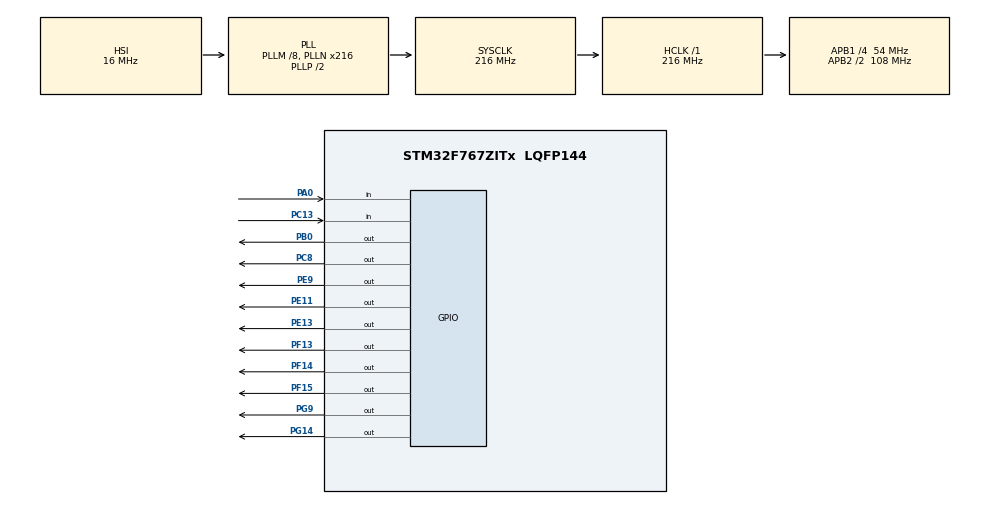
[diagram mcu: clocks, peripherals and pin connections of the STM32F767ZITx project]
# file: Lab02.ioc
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CORTEX_M7.default_mode_Activation=1
Mcu.Family=STM32F7
Mcu.Name=STM32F767ZITx
Mcu.Package=LQFP144
NVIC.PriorityGroup=NVIC_PRIORITYGROUP_4
PA0/WKUP.GPIO_PuPd=GPIO_PULLUP
PA0/WKUP.Signal=GPIO_Input
PB0.Signal=GPIO_Output
PC13.Signal=GPIO_Input
PC8.Signal=GPIO_Output
PE11.Signal=GPIO_Output
PE13.Signal=GPIO_Output
PE9.Signal=GPIO_Output
PF13.Signal=GPIO_Output
PF14.Signal=GPIO_Output
PF15.Signal=GPIO_Output
PG14.Signal=GPIO_Output
PG9.Signal=GPIO_Output
ProjectManager.HeapSize=0x200
ProjectManager.StackSize=0x400
ProjectManager.TargetToolchain=STM32CubeIDE
RCC.AHBFreq_Value=216000000
RCC.APB1CLKDivider=RCC_HCLK_DIV4
RCC.APB1Freq_Value=54000000
RCC.APB1TimFreq_Value=108000000
RCC.APB2CLKDivider=RCC_HCLK_DIV2
RCC.APB2Freq_Value=108000000
RCC.APB2TimFreq_Value=216000000
RCC.CortexFreq_Value=216000000
RCC.HCLKFreq_Value=216000000
RCC.HSE_VALUE=25000000
RCC.HSI_VALUE=16000000
RCC.LSE_VALUE=32768
RCC.PLLM=8
RCC.PLLN=216
RCC.SYSCLKFreq_VALUE=216000000
RCC.SYSCLKSource=RCC_SYSCLKSOURCE_PLLCLK
RCC.USBFreq_Value=216000000
RCC.VCOOutputFreq_Value=432000000
board=custom

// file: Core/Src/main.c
/* USER CODE BEGIN Header */
/**
  ******************************************************************************
  * @file           : main.c
  * @brief          : Main program body
  ******************************************************************************
  * @attention
  *
  * Copyright (c) 2024 STMicroelectronics.
  * All rights reserved.
  *
  * This software is licensed under terms that can be found in the LICENSE file
  * in the root directory of this software component.
  * If no LICENSE file comes with this software, it is provided AS-IS.
  *
  ******************************************************************************
  */
/* USER CODE END Header */
#include "main.h"
#include "gpio.h"

/* USER CODE BEGIN PV */
uint8_t num = 0;
uint8_t check = 0;
uint8_t state = 0;
/* USER CODE END PV */

void SystemClock_Config(void);
static void MPU_Config(void);

int main(void)
{

  /* MPU Configuration--------------------------------------------------------*/
  MPU_Config();

  /* MCU Configuration--------------------------------------------------------*/

  /* Reset of all peripherals, Initializes the Flash interface and the Systick. */
  HAL_Init();

  /* Configure the system clock */
  SystemClock_Config();

  /* Initialize all configured peripherals */
  MX_GPIO_Init();

  /* Infinite loop */
  while (1)
  {

    /* USER CODE BEGIN 3 */
	if ((HAL_GPIO_ReadPin(GPIOC, GPIO_PIN_13) == GPIO_PIN_SET) | (HAL_GPIO_ReadPin(GPIOA, GPIO_PIN_0) == GPIO_PIN_RESET) | (state == 1))
	{
		if (HAL_GPIO_ReadPin(GPIOC, GPIO_PIN_13) == GPIO_PIN_SET && state == 0)
			{
				num++;
				if (num > 8)
				{
					num = 0;
					HAL_Delay(500);
				}
				check = num;
			}
		if ((HAL_GPIO_ReadPin(GPIOA, GPIO_PIN_0) == GPIO_PIN_RESET) | (state == 1))
			{
				num--;
				state = 1;
				if (num < 0)
				{
					num = 8;
					HAL_Delay(500);
				}
				if (num == check)
				{
					state = 0;
				}
			}
		if (num == 0)
		{
			HAL_GPIO_WritePin(GPIOF, GPIO_PIN_13, GPIO_PIN_RESET);
			HAL_GPIO_WritePin(GPIOE, GPIO_PIN_9, GPIO_PIN_RESET);
			HAL_GPIO_WritePin(GPIOE, GPIO_PIN_11, GPIO_PIN_RESET);
			HAL_GPIO_WritePin(GPIOF, GPIO_PIN_14, GPIO_PIN_RESET);
			HAL_GPIO_WritePin(GPIOE, GPIO_PIN_13, GPIO_PIN_RESET);
			HAL_GPIO_WritePin(GPIOF, GPIO_PIN_15, GPIO_PIN_RESET);
			HAL_GPIO_WritePin(GPIOG, GPIO_PIN_14, GPIO_PIN_RESET);
			HAL_GPIO_WritePin(GPIOG, GPIO_PIN_9, GPIO_PIN_RESET);
		}
		else if (num == 1)
		{
			HAL_GPIO_WritePin(GPIOF, GPIO_PIN_13, GPIO_PIN_RESET);
			HAL_GPIO_WritePin(GPIOE, GPIO_PIN_9, GPIO_PIN_RESET);
			HAL_GPIO_WritePin(GPIOE, GPIO_PIN_11, GPIO_PIN_RESET);
			HAL_GPIO_WritePin(GPIOF, GPIO_PIN_14, GPIO_PIN_RESET);
			HAL_GPIO_WritePin(GPIOE, GPIO_PIN_13, GPIO_PIN_RESET);
			HAL_GPIO_WritePin(GPIOF, GPIO_PIN_15, GPIO_PIN_RESET);
			HAL_GPIO_WritePin(GPIOG, GPIO_PIN_14, GPIO_PIN_RESET);
			HAL_GPIO_WritePin(GPIOG, GPIO_PIN_9, GPIO_PIN_SET);
			HAL_Delay(500);

		}
		else if (num == 2)
		{
			HAL_GPIO_WritePin(GPIOF, GPIO_PIN_13, GPIO_PIN_RESET);
			HAL_GPIO_WritePin(GPIOE, GPIO_PIN_9, GPIO_PIN_RESET);
			HAL_GPIO_WritePin(GPIOE, GPIO_PIN_11, GPIO_PIN_RESET);
			HAL_GPIO_WritePin(GPIOF, GPIO_PIN_14, GPIO_PIN_RESET);
			HAL_GPIO_WritePin(GPIOE, GPIO_PIN_13, GPIO_PIN_RESET);
			HAL_GPIO_WritePin(GPIOF, GPIO_PIN_15, GPIO_PIN_RESET);
			HAL_GPIO_WritePin(GPIOG, GPIO_PIN_14, GPIO_PIN_SET);
			HAL_GPIO_WritePin(GPIOG, GPIO_PIN_9, GPIO_PIN_RESET);
			HAL_Delay(500);
		}
		else if (num == 3)
		{
			HAL_GPIO_WritePin(GPIOF, GPIO_PIN_13, GPIO_PIN_RESET);
			HAL_GPIO_WritePin(GPIOE, GPIO_PIN_9, GPIO_PIN_RESET);
			HAL_GPIO_WritePin(GPIOE, GPIO_PIN_11, GPIO_PIN_RESET);
			HAL_GPIO_WritePin(GPIOF, GPIO_PIN_14, GPIO_PIN_RESET);
			HAL_GPIO_WritePin(GPIOE, GPIO_PIN_13, GPIO_PIN_RESET);
			HAL_GPIO_WritePin(GPIOF, GPIO_PIN_15, GPIO_PIN_SET);
			HAL_GPIO_WritePin(GPIOG, GPIO_PIN_14, GPIO_PIN_RESET);
			HAL_GPIO_WritePin(GPIOG, GPIO_PIN_9, GPIO_PIN_RESET);
			HAL_Delay(500);
		}
		else if (num == 4)
		{
			HAL_GPIO_WritePin(GPIOF, GPIO_PIN_13, GPIO_PIN_RESET);
			HAL_GPIO_WritePin(GPIOE, GPIO_PIN_9, GPIO_PIN_RESET);
			HAL_GPIO_WritePin(GPIOE, GPIO_PIN_11, GPIO_PIN_RESET);
			HAL_GPIO_WritePin(GPIOF, GPIO_PIN_14, GPIO_PIN_RESET);
			HAL_GPIO_WritePin(GPIOE, GPIO_PIN_13, GPIO_PIN_SET);
			HAL_GPIO_WritePin(GPIOF, GPIO_PIN_15, GPIO_PIN_RESET);
			HAL_GPIO_WritePin(GPIOG, GPIO_PIN_14, GPIO_PIN_RESET);
			HAL_GPIO_WritePin(GPIOG, GPIO_PIN_9, GPIO_PIN_RESET);
			HAL_Delay(500);
		}
		else if (num == 5)
				{
			HAL_GPIO_WritePin(GPIOF, GPIO_PIN_13, GPIO_PIN_RESET);
			HAL_GPIO_WritePin(GPIOE, GPIO_PIN_9, GPIO_PIN_RESET);
			HAL_GPIO_WritePin(GPIOE, GPIO_PIN_11, GPIO_PIN_RESET);
			HAL_GPIO_WritePin(GPIOF, GPIO_PIN_14, GPIO_PIN_SET);
			HAL_GPIO_WritePin(GPIOE, GPIO_PIN_13, GPIO_PIN_RESET);
			HAL_GPIO_WritePin(GPIOF, GPIO_PIN_15, GPIO_PIN_RESET);
			HAL_GPIO_WritePin(GPIOG, GPIO_PIN_14, GPIO_PIN_RESET);
			HAL_GPIO_WritePin(GPIOG, GPIO_PIN_9, GPIO_PIN_RESET);
			HAL_Delay(500);
				}
		else if (num == 6)
				{
			HAL_GPIO_WritePin(GPIOF, GPIO_PIN_13, GPIO_PIN_RESET);
			HAL_GPIO_WritePin(GPIOE, GPIO_PIN_9, GPIO_PIN_RESET);
			HAL_GPIO_WritePin(GPIOE, GPIO_PIN_11, GPIO_PIN_SET);
			HAL_GPIO_WritePin(GPIOF, GPIO_PIN_14, GPIO_PIN_RESET);
			HAL_GPIO_WritePin(GPIOE, GPIO_PIN_13, GPIO_PIN_RESET);
			HAL_GPIO_WritePin(GPIOF, GPIO_PIN_15, GPIO_PIN_RESET);
			HAL_GPIO_WritePin(GPIOG, GPIO_PIN_14, GPIO_PIN_RESET);
			HAL_GPIO_WritePin(GPIOG, GPIO_PIN_9, GPIO_PIN_RESET);
			HAL_Delay(500);
				}
		else if (num == 7)
				{
			HAL_GPIO_WritePin(GPIOF, GPIO_PIN_13, GPIO_PIN_RESET);
			HAL_GPIO_WritePin(GPIOE, GPIO_PIN_9, GPIO_PIN_SET);
			HAL_GPIO_WritePin(GPIOE, GPIO_PIN_11, GPIO_PIN_RESET);
			HAL_GPIO_WritePin(GPIOF, GPIO_PIN_14, GPIO_PIN_RESET);
			HAL_GPIO_WritePin(GPIOE, GPIO_PIN_13, GPIO_PIN_RESET);
			HAL_GPIO_WritePin(GPIOF, GPIO_PIN_15, GPIO_PIN_RESET);
			HAL_GPIO_WritePin(GPIOG, GPIO_PIN_14, GPIO_PIN_RESET);
			HAL_GPIO_WritePin(GPIOG, GPIO_PIN_9, GPIO_PIN_RESET);
			HAL_Delay(500);
				}
		else if (num == 8)
				{
			HAL_GPIO_WritePin(GPIOF, GPIO_PIN_13, GPIO_PIN_SET);
			HAL_GPIO_WritePin(GPIOE, GPIO_PIN_9, GPIO_PIN_RESET);
			HAL_GPIO_WritePin(GPIOE, GPIO_PIN_11, GPIO_PIN_RESET);
			HAL_GPIO_WritePin(GPIOF, GPIO_PIN_14, GPIO_PIN_RESET);
			HAL_GPIO_WritePin(GPIOE, GPIO_PIN_13, GPIO_PIN_RESET);
			HAL_GPIO_WritePin(GPIOF, GPIO_PIN_15, GPIO_PIN_RESET);
			HAL_GPIO_WritePin(GPIOG, GPIO_PIN_14, GPIO_PIN_RESET);
			HAL_GPIO_WritePin(GPIOG, GPIO_PIN_9, GPIO_PIN_RESET);
			HAL_Delay(500);
				}
	 }
  }
  /* USER CODE END 3 */
}

void SystemClock_Config(void)
{
  RCC_OscInitTypeDef RCC_OscInitStruct = {0};
  RCC_ClkInitTypeDef RCC_ClkInitStruct = {0};

  /** Configure the main internal regulator output voltage
  */
  __HAL_RCC_PWR_CLK_ENABLE();
  __HAL_PWR_VOLTAGESCALING_CONFIG(PWR_REGULATOR_VOLTAGE_SCALE1);

  /** Initializes the RCC Oscillators according to the specified parameters
  * in the RCC_OscInitTypeDef structure.
  */
  RCC_OscInitStruct.OscillatorType = RCC_OSCILLATORTYPE_HSI;
  RCC_OscInitStruct.HSIState = RCC_HSI_ON;
  RCC_OscInitStruct.HSICalibrationValue = RCC_HSICALIBRATION_DEFAULT;
  RCC_OscInitStruct.PLL.PLLState = RCC_PLL_ON;
  RCC_OscInitStruct.PLL.PLLSource = RCC_PLLSOURCE_HSI;
  RCC_OscInitStruct.PLL.PLLM = 8;
  RCC_OscInitStruct.PLL.PLLN = 216;
  RCC_OscInitStruct.PLL.PLLP = RCC_PLLP_DIV2;
  RCC_OscInitStruct.PLL.PLLQ = 2;
  RCC_OscInitStruct.PLL.PLLR = 2;
  if (HAL_RCC_OscConfig(&RCC_OscInitStruct) != HAL_OK)
  {
    Error_Handler();
  }

  /** Activate the Over-Drive mode
  */
  if (HAL_PWREx_EnableOverDrive() != HAL_OK)
  {
    Error_Handler();
  }

  /** Initializes the CPU, AHB and APB buses clocks
  */
  RCC_ClkInitStruct.ClockType = RCC_CLOCKTYPE_HCLK|RCC_CLOCKTYPE_SYSCLK
                              |RCC_CLOCKTYPE_PCLK1|RCC_CLOCKTYPE_PCLK2;
  RCC_ClkInitStruct.SYSCLKSource = RCC_SYSCLKSOURCE_PLLCLK;
  RCC_ClkInitStruct.AHBCLKDivider = RCC_SYSCLK_DIV1;
  RCC_ClkInitStruct.APB1CLKDivider = RCC_HCLK_DIV4;
  RCC_ClkInitStruct.APB2CLKDivider = RCC_HCLK_DIV2;

  if (HAL_RCC_ClockConfig(&RCC_ClkInitStruct, FLASH_LATENCY_7) != HAL_OK)
  {
    Error_Handler();
  }
}

 /* MPU Configuration */

void MPU_Config(void)
{
  MPU_Region_InitTypeDef MPU_InitStruct = {0};

  /* Disables the MPU */
  HAL_MPU_Disable();

  /** Initializes and configures the Region and the memory to be protected
  */
  MPU_InitStruct.Enable = MPU_REGION_ENABLE;
  MPU_InitStruct.Number = MPU_REGION_NUMBER0;
  MPU_InitStruct.BaseAddress = 0x0;
  MPU_InitStruct.Size = MPU_REGION_SIZE_4GB;
  MPU_InitStruct.SubRegionDisable = 0x87;
  MPU_InitStruct.TypeExtField = MPU_TEX_LEVEL0;
  MPU_InitStruct.AccessPermission = MPU_REGION_NO_ACCESS;
  MPU_InitStruct.DisableExec = MPU_INSTRUCTION_ACCESS_DISABLE;
  MPU_InitStruct.IsShareable = MPU_ACCESS_SHAREABLE;
  MPU_InitStruct.IsCacheable = MPU_ACCESS_NOT_CACHEABLE;
  MPU_InitStruct.IsBufferable = MPU_ACCESS_NOT_BUFFERABLE;

  HAL_MPU_ConfigRegion(&MPU_InitStruct);
  /* Enables the MPU */
  HAL_MPU_Enable(MPU_PRIVILEGED_DEFAULT);

}

void Error_Handler(void)
{
  __disable_irq();
  while (1)
  {
  }
}
